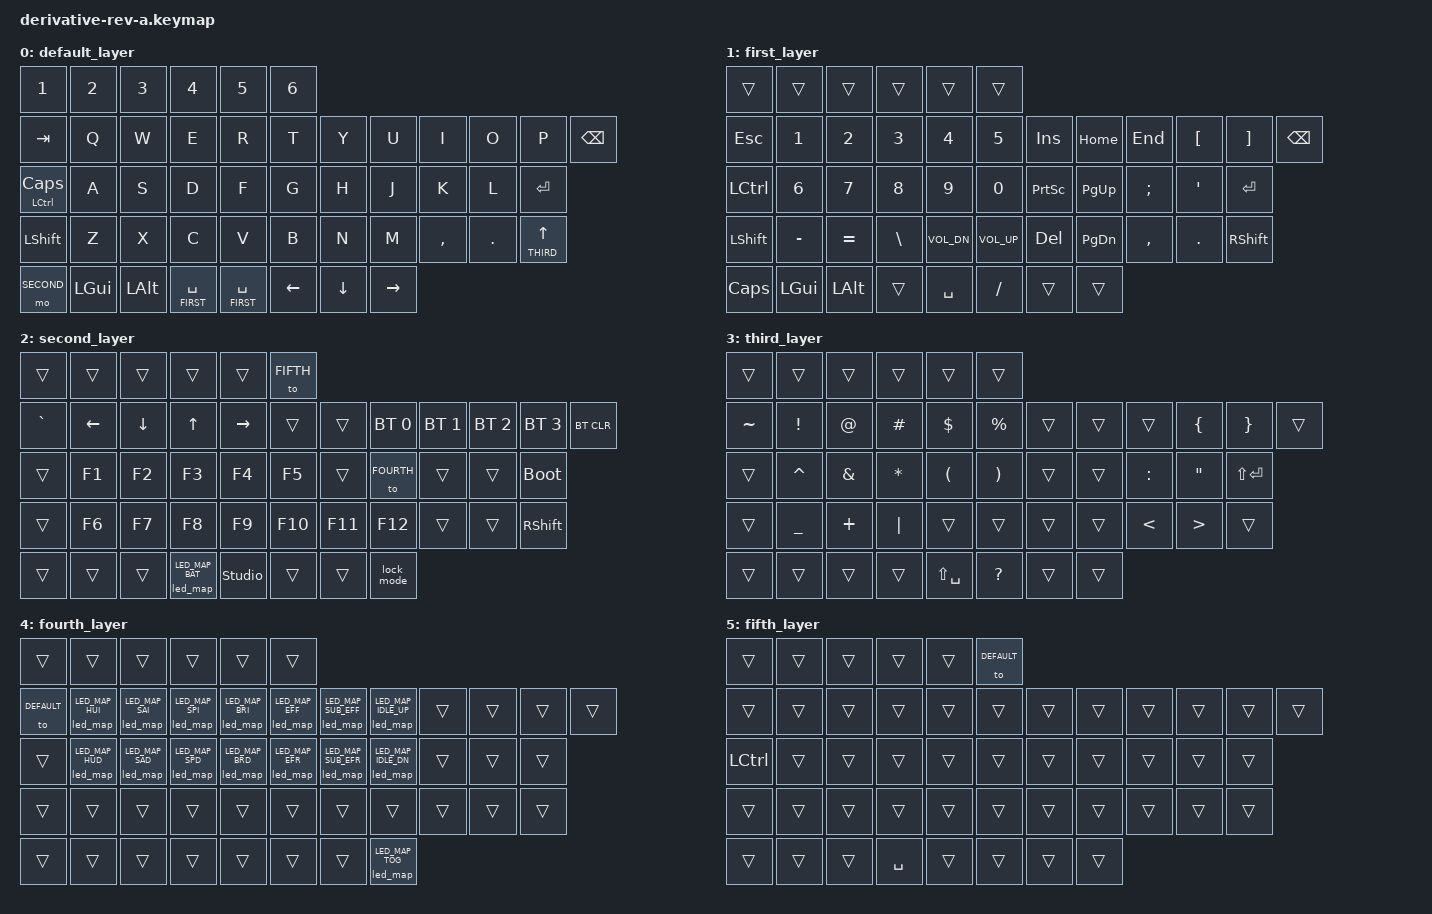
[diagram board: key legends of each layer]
#include <behaviors.dtsi>
#include <dt-bindings/zmk/keys.h>
#include <dt-bindings/zmk/bt.h>
#include <dt-bindings/zmk/led_map.h>

#ifdef CONFIG_ZMK_STUDIO
#include <dt-bindings/zmk/studio.h>
#define STUDIO_UNLOCK &studio_unlock
#else
#define STUDIO_UNLOCK &trans
#endif

#define DEFAULT 0
#define FIRST   1
#define SECOND  2
#define THIRD   3
#define FOURTH  4
#define FIFTH   5

/ {
    behaviors {
        lock_mode: lock_mode {
            compatible = "zmk,behavior-lock-mode";
            #binding-cells = <0>;
            /* Unlock keys: F (column 31) and J (column 14), per the
             * matrix transform. Held alone for 3s to wake from lock. */
            wake-columns = <31 14>;
        };
    };

    keymap {
        compatible = "zmk,keymap";

        default_layer {

            // | 1 | 2 | 3 | 4 | 5 | 6 |
            // | TAB | Q | W | E | R | T | Y | U | I | O | P | BSPC |
            // | CAPS/CTRL | A | S | D | F | G | H | J | K | L | ENTER |
            // | LSHIFT | Z | X | C | V | B | N | M | , | . | LT(3,UP) |
            // | MO(2) | WIN | ALT | LT(1,SPACE) | LT(1,SPACE) | LEFT | DOWN | RIGHT |
            bindings = <
                &kp N1  &kp N2  &kp N3  &kp N4  &kp N5  &kp N6
                &kp TAB  &kp Q  &kp W  &kp E  &kp R  &kp T  &kp Y  &kp U  &kp I  &kp O  &kp P  &kp BSPC
                &mt LCTRL CAPS  &kp A  &kp S  &kp D  &kp F  &kp G  &kp H  &kp J  &kp K  &kp L  &kp RET
                &kp LSHFT  &kp Z  &kp X  &kp C  &kp V  &kp B  &kp N  &kp M  &kp COMMA  &kp DOT  &lt THIRD UP
                &mo SECOND  &kp LGUI  &kp LALT  &lt FIRST SPACE  &lt FIRST SPACE  &kp LEFT  &kp DOWN  &kp RIGHT
            >;
        };

        first_layer {

            // | --- | --- | --- | --- | --- | --- |
            // | ESC | 1 | 2 | 3 | 4 | 5 | INS | HOME | END | [ | ] | BSPC |
            // | CTRL | 6 | 7 | 8 | 9 | 0 | PSCRN | PGUP | ; | ' | ENTER |
            // | SHIFT | - | = | \ | VOL- | VOL+ | DEL | PGDN | , | . | SHIFT |
            // | CAPS | WIN | ALT | --- | SPACE | / | --- | --- |
            bindings = <
                &trans  &trans  &trans  &trans  &trans  &trans
                &kp ESC  &kp N1  &kp N2  &kp N3  &kp N4  &kp N5  &kp INS  &kp HOME  &kp END  &kp LBKT  &kp RBKT  &kp BSPC
                &kp LCTRL  &kp N6  &kp N7  &kp N8  &kp N9  &kp N0  &kp PSCRN  &kp PG_UP  &kp SEMI  &kp SQT  &kp RET
                &kp LSHFT  &kp MINUS  &kp EQUAL  &kp BSLH  &kp C_VOL_DN  &kp C_VOL_UP  &kp DEL  &kp PG_DN  &kp COMMA  &kp DOT  &kp RSHFT
                &kp CAPS  &kp LGUI  &kp LALT  &trans  &kp SPACE  &kp SLASH  &trans  &trans
            >;
        };

        second_layer {

            // | --- | --- | --- | --- | --- | TO(5) |
            // | ` | ← | ↓ | ↑ | → | --- | --- | BT0 | BT1 | BT2 | BT3 | CLR |
            // | --- | F1 | F2 | F3 | F4 | F5 | --- | TO(4) | --- | --- | BOOT |
            // | --- | F6 | F7 | F8 | F9 | F10 | F11 | F12 | --- | --- | SHIFT |
            // | --- | --- | --- | BAT | studio_unlock | --- | --- | LOCK_MODE |
            bindings = <
                &trans  &trans  &trans  &trans  &trans  &to FIFTH
                &kp GRAVE  &kp LEFT  &kp DOWN  &kp UP  &kp RIGHT  &trans  &trans  &bt BT_SEL 0  &bt BT_SEL 1  &bt BT_SEL 2  &bt BT_SEL 3  &bt BT_CLR
                &trans  &kp F1  &kp F2  &kp F3  &kp F4  &kp F5  &trans  &to FOURTH  &trans  &trans  &bootloader
                &trans  &kp F6  &kp F7  &kp F8  &kp F9  &kp F10  &kp F11  &kp F12  &trans  &trans  &kp RSHFT
                &trans  &trans  &trans  &led_map LED_MAP_BAT  &studio_unlock  &trans  &trans  &lock_mode
            >;
        };

        third_layer {

            // | --- | --- | --- | --- | --- | --- |
            // | ~ | ! | @ | # | $ | % | --- | --- | --- | [ | ] | --- |
            // | --- | ^ | & | * | ( | ) | --- | --- | : | " | Shift+Enter |
            // | --- | _ | + | | | --- | --- | --- | --- | < | > | --- |
            // | --- | --- | --- | --- | Shift+Space | ? | --- | --- |
            bindings = <
                &trans  &trans  &trans  &trans  &trans  &trans
                &kp TILDE  &kp EXCL  &kp AT  &kp POUND  &kp DLLR  &kp PRCNT  &trans  &trans  &trans  &kp LBRC  &kp RBRC  &trans
                &trans  &kp CARET  &kp AMPS  &kp STAR  &kp LPAR  &kp RPAR  &trans  &trans  &kp COLON  &kp DQT  &kp LS(RET)
                &trans  &kp UNDER  &kp PLUS  &kp PIPE  &trans  &trans  &trans  &trans  &kp LESS_THAN  &kp GREATER_THAN  &trans
                &trans  &trans  &trans  &trans  &kp LS(SPACE)  &kp QMARK  &trans  &trans
            >;
        };

        fourth_layer {

            // Per-key LED controls
            // | --- | --- | --- | --- | --- | --- |
            // | TO(0) | HUI | SAI | SPI | BRI | EFF | SUB_EFF | IDLE_UP | --- | --- | --- | --- |
            // | --- | HUD | SAD | SPD | BRD | EFR | SUB_EFR | IDLE_DN | --- | --- | --- |
            // | --- | --- | --- | --- | --- | --- | --- | --- | --- | --- | --- |
            // | --- | --- | --- | --- | --- | --- | --- | TOG |
            bindings = <
                &trans  &trans  &trans  &trans  &trans  &trans
                &to DEFAULT  &led_map LED_MAP_HUI  &led_map LED_MAP_SAI  &led_map LED_MAP_SPI  &led_map LED_MAP_BRI  &led_map LED_MAP_EFF  &led_map LED_MAP_SUB_EFF  &led_map LED_MAP_IDLE_UP  &trans  &trans  &trans  &trans
                &trans  &led_map LED_MAP_HUD  &led_map LED_MAP_SAD  &led_map LED_MAP_SPD  &led_map LED_MAP_BRD  &led_map LED_MAP_EFR  &led_map LED_MAP_SUB_EFR  &led_map LED_MAP_IDLE_DN  &trans  &trans  &trans
                &trans  &trans  &trans  &trans  &trans  &trans  &trans  &trans  &trans  &trans  &trans
                &trans  &trans  &trans  &trans  &trans  &trans  &trans  &led_map LED_MAP_TOG
            >;
        };

        fifth_layer {

            // Gaming
            // | --- | --- | --- | --- | --- | TO(0) |
            // | --- | --- | --- | --- | --- | --- | --- | --- | --- | --- | --- | --- |
            // | CTRL | --- | --- | --- | --- | --- | --- | --- | --- | --- | --- |
            // | --- | --- | --- | --- | --- | --- | --- | --- | --- | --- | --- |
            // | --- | --- | --- | SPACE | --- | --- | --- | --- |
            bindings = <
                &trans  &trans  &trans  &trans  &trans  &to DEFAULT
                &trans  &trans  &trans  &trans  &trans  &trans  &trans  &trans  &trans  &trans  &trans  &trans
                &kp LCTRL  &trans  &trans  &trans  &trans  &trans  &trans  &trans  &trans  &trans  &trans
                &trans  &trans  &trans  &trans  &trans  &trans  &trans  &trans  &trans  &trans  &trans
                &trans  &trans  &trans  &kp SPACE  &trans  &trans  &trans  &trans
            >;
        };

        extra2 {
            status = "reserved";
        };

        extra3 {
            status = "reserved";
        };

        extra4 {
            status = "reserved";
        };

        extra5 {
            status = "reserved";
        };
    };
};
